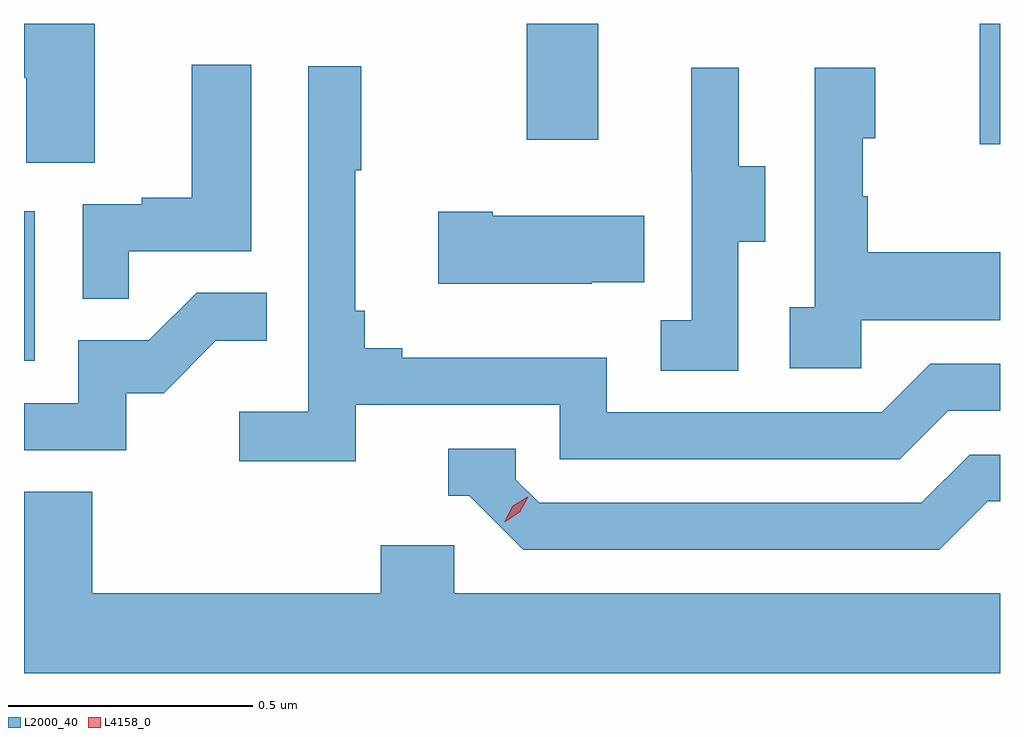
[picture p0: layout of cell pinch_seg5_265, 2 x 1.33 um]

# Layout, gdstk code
import gdstk
lib = gdstk.Library(unit=1e-6, precision=1e-09)
def R(c, l, rs):  # rectangles x0, y0, x1, y1
    for r in rs: c.add(gdstk.rectangle(r[:2], r[2:], *l))
def P(c, l, *ps):  # polygons
    for p in ps: c.add(gdstk.Polygon(p, *l))
L2000_40 = (2000, 40)
L4158_0 = (4158, 0)

pinch_seg5_265 = lib.new_cell('pinch_seg5_265')
R(pinch_seg5_265, L2000_40, [(898.284,906.684,898.306,906.991), (900.242,907.128,900.284,907.375), (899.314,907.137,899.461,907.375)])
P(pinch_seg5_265, L2000_40, [(898.429,907.375),(898.284,907.375),(898.284,907.264),(898.289,907.264),(898.289,907.09),(898.429,907.09)],
  [(898.499,906.909),(898.75,906.909),(898.75,907.291),(898.628,907.291),(898.628,907.018),(898.525,907.018),(898.525,907.005),(898.404,907.005),(898.404,906.811),(898.499,906.811)],
  [(898.964,906.594),(899.382,906.594),(899.382,906.483),(900.079,906.483),(900.178,906.582),(900.284,906.582),(900.284,906.678),(900.141,906.678),(900.042,906.579),(899.478,906.579),(899.478,906.691),(899.059,906.691),(899.059,906.71),(898.982,906.71),(898.982,906.787),(898.963,906.787),(898.963,907.075),(898.975,907.075),(898.975,907.288),(898.866,907.288),(898.866,906.58),(898.725,906.58),(898.725,906.478),(898.964,906.478)],
  [(900,906.767),(900.284,906.767),(900.284,906.907),(900.013,906.907),(900.013,907.022),(900.003,907.022),(900.003,907.14),(900.028,907.14),(900.028,907.285),(899.904,907.285),(899.904,906.794),(899.853,906.794),(899.853,906.669),(900,906.669)],
  [(899.748,906.928),(899.803,906.928),(899.803,907.083),(899.749,907.083),(899.749,907.285),(899.651,907.285),(899.651,907.071),(899.652,907.071),(899.652,906.767),(899.589,906.767),(899.589,906.664),(899.748,906.664)],
  [(899.447,906.845),(899.555,906.845),(899.555,906.982),(899.245,906.982),(899.245,906.99),(899.133,906.99),(899.133,906.842),(899.447,906.842)],
  [(898.494,906.618),(898.57,906.618),(898.677,906.725),(898.781,906.725),(898.781,906.824),(898.638,906.824),(898.54,906.726),(898.395,906.726),(898.395,906.597),(898.284,906.597),(898.284,906.501),(898.494,906.501)],
  [(900.259,906.396),(900.284,906.396),(900.284,906.492),(900.222,906.492),(900.123,906.393),(899.34,906.393),(899.292,906.441),(899.292,906.504),(899.153,906.504),(899.153,906.408),(899.196,906.408),(899.307,906.297),(900.16,906.297)],
  [(900.284,906.208),(899.166,906.208),(899.166,906.306),(899.015,906.306),(899.015,906.208),(898.424,906.208),(898.424,906.416),(898.284,906.416),(898.284,906.044),(900.284,906.044)])
P(pinch_seg5_265, L4158_0, [(899.269,906.354),(899.269,906.355),(899.286,906.387),(899.316,906.406),(899.317,906.406),(899.317,906.406),(899.3,906.374),(899.27,906.354)])

lib.write_gds('pinch_seg5_265.gds')
